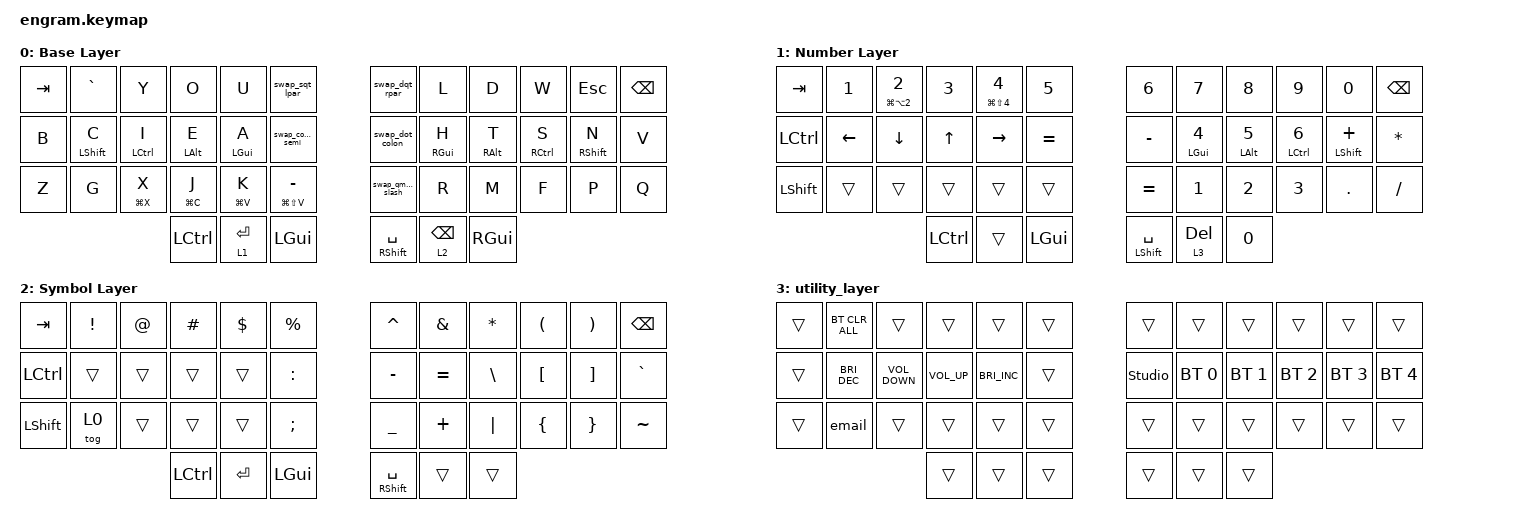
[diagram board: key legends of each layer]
/*
 * Copyright (c) 2020 The ZMK Contributors
 *
 * SPDX-License-Identifier: MIT
 */

#include <behaviors.dtsi>
#include <dt-bindings/zmk/bt.h>
#include <dt-bindings/zmk/keys.h>

/ {
    macros {
        copy: copy {
            compatible = "zmk,behavior-macro";
            #binding-cells = <0>;
            bindings = <&macro_press>, <&kp C>;

            label = "COPY";
        };

        email: email {
            compatible = "zmk,behavior-macro";
            #binding-cells = <0>;
            bindings = <&kp J &kp J &kp M &kp B &kp L &kp A &kp N &kp C &kp H &kp A &kp R &kp D &kp AT &kp G &kp M &kp A &kp I &kp L &kp DOT &kp C &kp O &kp M>;
            label = "EMAIL";
        };
    };

    behaviors {
        hml: home_row_mod_left {
            compatible = "zmk,behavior-hold-tap";
            label = "HOME_ROW_MOD_LEFT";
            #binding-cells = <2>;
            flavor = "balanced";
            require-prior-idle-ms = <150>;
            tapping-term-ms = <280>;
            quick-tap-ms = <175>;
            bindings = <&kp>, <&kp>;

            // Right side keys (Corne 3x6+3: keys 21-41)

            hold-trigger-key-positions = <21 22 23 24 25 26 27 28 29 30 31 32 33 34 35 36 37 38 39 40 41>;
            hold-trigger-on-release;
        };

        hmr: home_row_mod_right {
            compatible = "zmk,behavior-hold-tap";
            label = "HOME_ROW_MOD_RIGHT";
            #binding-cells = <2>;
            flavor = "balanced";
            require-prior-idle-ms = <150>;
            tapping-term-ms = <280>;
            quick-tap-ms = <175>;
            bindings = <&kp>, <&kp>;

            // Left side keys (Corne 3x6+3: keys 0-20)

            hold-trigger-key-positions = <0 1 2 3 4 5 6 7 8 9 10 11 12 13 14 15 16 17 18 19 20>;
            hold-trigger-on-release;
        };

        swap_colon_semi: swap_colon_semi {
            compatible = "zmk,behavior-mod-morph";
            label = "SWAP_COLON_SEMI";
            #binding-cells = <0>;
            bindings = <&kp COLON>, <&kp SEMI>;

            mods = <(MOD_LSFT|MOD_RSFT)>;
        };

        swap_sqt_lpar: swap_sqt_lpar {
            compatible = "zmk,behavior-mod-morph";
            label = "SWAP_SQT_LPAR";
            #binding-cells = <0>;
            bindings = <&kp SQT>, <&kp LPAR>;

            mods = <(MOD_LSFT|MOD_RSFT)>;
        };

        swap_dqt_rpar: swap_dqt_rpar {
            compatible = "zmk,behavior-mod-morph";
            label = "SWAP_DQT_RPAR";
            #binding-cells = <0>;
            bindings = <&kp DQT>, <&kp RPAR>;

            mods = <(MOD_LSFT|MOD_RSFT)>;
        };

        swap_comma_semi: swap_comma_semi {
            compatible = "zmk,behavior-mod-morph";
            label = "SWAP_COMMA_SEMI";
            #binding-cells = <0>;
            bindings = <&kp COMMA>, <&kp SEMI>;

            mods = <(MOD_LSFT|MOD_RSFT)>;
        };

        swap_dot_colon: swap_dot_colon {
            compatible = "zmk,behavior-mod-morph";
            label = "SWAP_DOT_COLON";
            #binding-cells = <0>;
            bindings = <&kp DOT>, <&kp COLON>;

            mods = <(MOD_LSFT|MOD_RSFT)>;
        };

        swap_qmark_slash: swap_qmark_slash {
            compatible = "zmk,behavior-mod-morph";
            label = "SWAP_QMARK_SLASH";
            #binding-cells = <0>;
            bindings = <&kp QMARK>, <&kp SLASH>;

            mods = <(MOD_LSFT|MOD_RSFT)>;
        };
    };

    keymap {
        compatible = "zmk,keymap";

        base_layer {
            display-name = "Base Layer";

            // -----------------------------------------------------------------------------------------
            // |  TAB |  Q  |  W  |  E  |  R  |  T  |   |  Y  |  U   |  I  |  O  |  P  | BSPC |
            // | CTRL |  A  |  S  |  D  |  F  |  G  |   |  H  |  J   |  K  |  L  |  ;  |  '   |
            // | SHFT |  Z  |  X  |  C  |  V  |  B  |   |  N  |  M   |  ,  |  .  |  /  | ESC  |
            //                    | GUI | LWR | SPC |   | ENT | RSE  | ALT |

            bindings = <
&kp TAB    &kp GRAVE        &kp Y         &kp O         &kp U         &swap_sqt_lpar       &swap_dqt_rpar     &kp L            &kp D        &kp W         &kp ESC            &kp BSPC
&kp B      &hml LSHFT C     &hml LCTRL I  &hml LALT E   &hml LGUI A   &swap_comma_semi     &swap_dot_colon    &hmr RGUI H      &hmr RALT T  &hmr RCTRL S  &hmr RSHFT N      &kp V
&kp Z      &kp G            &hml LG(X) X  &hml LG(C) J  &hml LG(V) K  &hml LG(LS(V)) MINUS &swap_qmark_slash  &kp R            &kp M        &kp F         &kp P             &kp Q
                                          &kp LCTRL     &lt 1 ENTER   &kp LGUI             &mt RSHIFT SPACE   &lt 2 BACKSPACE  &kp RGUI
            >;
        };

        number_layer {
            display-name = "Number Layer";

            // -----------------------------------------------------------------------------------------
            // |  TAB |  1  |  2  |  3  |  4  |  5  |   |  6  |  7  |  8  |  9  |  0  | BSPC |
            // | BTCLR| BT1 | BT2 | BT3 | BT4 | BT5 |   | LFT | DWN |  UP | RGT |     |      |
            // | SHFT |     |     |     |     |     |   |     |     |     |     |     |      |
            //                    | GUI |     | SPC |   | ENT |     | ALT |

            bindings = <
&kp TAB    &kp N1    &hml LG(LA(N2)) N2  &kp N3     &hml LG(LS(N4)) N4  &kp N5       &kp N6            &kp N7        &kp N8        &kp N9         &kp N0           &kp BSPC
&kp LCTRL  &kp LEFT  &kp DOWN            &kp UP     &kp RIGHT           &kp EQUAL    &kp MINUS         &hmr LGUI N4  &hmr LALT N5  &hmr LCTRL N6  &hmr LSHFT PLUS  &kp ASTRK
&kp LSHFT  &trans    &trans              &trans     &trans              &trans       &kp EQUAL         &kp N1        &kp N2        &kp N3         &kp PERIOD       &kp SLASH
                                         &kp LCTRL  &trans              &kp LGUI     &mt LSHIFT SPACE  &lt 3 DEL     &kp N0
            >;
        };

        symbol_layer {
            display-name = "Symbol Layer";

            // -----------------------------------------------------------------------------------------
            // |  TAB |  !  |  @  |  #  |  $  |  %  |   |  ^  |  &  |  *  |  (  |  )  | BSPC |
            // | CTRL |     |     |     |     |     |   |  -  |  =  |  [  |  ]  |  \  |  `   |
            // | SHFT |     |     |     |     |     |   |  _  |  +  |  {  |  }  | "|" |  ~   |
            //                    | GUI |     | SPC |   | ENT |     | ALT |

            bindings = <
&kp TAB    &kp EXCL  &kp AT  &kp HASH   &kp DLLR  &kp PRCNT    &kp CARET         &kp AMPS   &kp ASTRK  &kp LPAR  &kp RPAR  &kp BSPC
&kp LCTRL  &trans    &trans  &trans     &trans    &kp COLON    &kp MINUS         &kp EQUAL  &kp BSLH   &kp LBKT  &kp RBKT  &kp GRAVE
&kp LSHFT  &tog 0    &trans  &trans     &trans    &kp SEMI     &kp UNDER         &kp PLUS   &kp PIPE   &kp LBRC  &kp RBRC  &kp TILDE
                             &kp LCTRL  &kp RET   &kp LGUI     &mt RSHIFT SPACE  &trans     &trans
            >;
        };

        utility_layer {
            bindings = <
&trans  &bt BT_CLR_ALL        &trans             &trans           &trans                &trans    &trans          &trans        &trans        &trans        &trans        &trans
&trans  &kp C_BRIGHTNESS_DEC  &kp C_VOLUME_DOWN  &kp C_VOLUME_UP  &kp C_BRIGHTNESS_INC  &trans    &studio_unlock  &bt BT_SEL 0  &bt BT_SEL 1  &bt BT_SEL 2  &bt BT_SEL 3  &bt BT_SEL 4
&trans  &email                &trans             &trans           &trans                &trans    &trans          &trans        &trans        &trans        &trans        &trans
                                                 &trans           &trans                &trans    &trans          &trans        &trans
            >;
        };
    };
};
